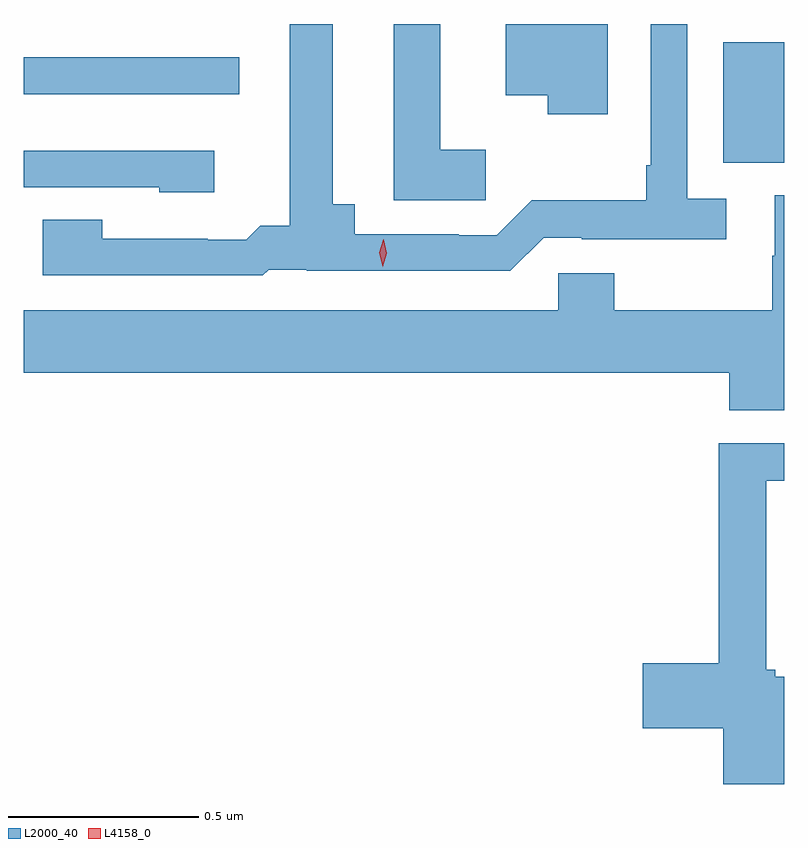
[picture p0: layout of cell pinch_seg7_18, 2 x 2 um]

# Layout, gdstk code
import gdstk
lib = gdstk.Library(unit=1e-6, precision=1e-09)
def R(c, l, rs):  # rectangles x0, y0, x1, y1
    for r in rs: c.add(gdstk.rectangle(r[:2], r[2:], *l))
def P(c, l, *ps):  # polygons
    for p in ps: c.add(gdstk.Polygon(p, *l))
L2000_40 = (2000, 40)
L4158_0 = (4158, 0)

pinch_seg7_18 = lib.new_cell('pinch_seg7_18')
R(pinch_seg7_18, L2000_40, [(1025.612,1061.108,1025.772,1061.425), (1023.772,1061.288,1024.339,1061.385)])
P(pinch_seg7_18, L2000_40, [(1024.416,1060.827),(1024.516,1060.827),(1024.516,1060.824),(1025.052,1060.824),(1025.139,1060.911),(1025.239,1060.911),(1025.239,1060.907),(1025.62,1060.907),(1025.62,1061.014),(1025.517,1061.014),(1025.517,1061.473),(1025.421,1061.473),(1025.421,1061.101),(1025.409,1061.101),(1025.409,1061.009),(1025.108,1061.009),(1025.016,1060.917),(1024.916,1060.917),(1024.916,1060.92),(1024.642,1060.92),(1024.642,1060.999),(1024.585,1060.999),(1024.585,1061.473),(1024.472,1061.473),(1024.472,1060.943),(1024.394,1060.943),(1024.357,1060.906),(1024.256,1060.906),(1024.256,1060.908),(1023.978,1060.908),(1023.978,1060.958),(1023.822,1060.958),(1023.822,1060.812),(1024.401,1060.812)],
  [(1025.308,1061.473),(1025.039,1061.473),(1025.039,1061.285),(1025.15,1061.285),(1025.15,1061.235),(1025.308,1061.235)],
  [(1024.987,1061.142),(1024.867,1061.142),(1024.867,1061.473),(1024.745,1061.473),(1024.745,1061.01),(1024.987,1061.01)],
  [(1024.273,1061.14),(1023.772,1061.14),(1023.772,1061.043),(1024.128,1061.043),(1024.128,1061.03),(1024.273,1061.03)],
  [(1025.772,1061.023),(1025.747,1061.023),(1025.747,1060.863),(1025.74,1060.863),(1025.74,1060.72),(1025.325,1060.72),(1025.325,1060.818),(1025.178,1060.818),(1025.178,1060.72),(1023.772,1060.72),(1023.772,1060.556),(1025.627,1060.556),(1025.627,1060.457),(1025.772,1060.457)],
  [(1025.772,1059.756),(1025.748,1059.756),(1025.748,1059.774),(1025.725,1059.774),(1025.725,1060.272),(1025.772,1060.272),(1025.772,1060.37),(1025.6,1060.37),(1025.6,1059.791),(1025.4,1059.791),(1025.4,1059.62),(1025.612,1059.62),(1025.612,1059.474),(1025.772,1059.474)])
P(pinch_seg7_18, L4158_0, [(1024.716,1060.834),(1024.716,1060.835),(1024.707,1060.871),(1024.718,1060.906),(1024.719,1060.907),(1024.719,1060.906),(1024.727,1060.87),(1024.716,1060.835)])

lib.write_gds('pinch_seg7_18.gds')
